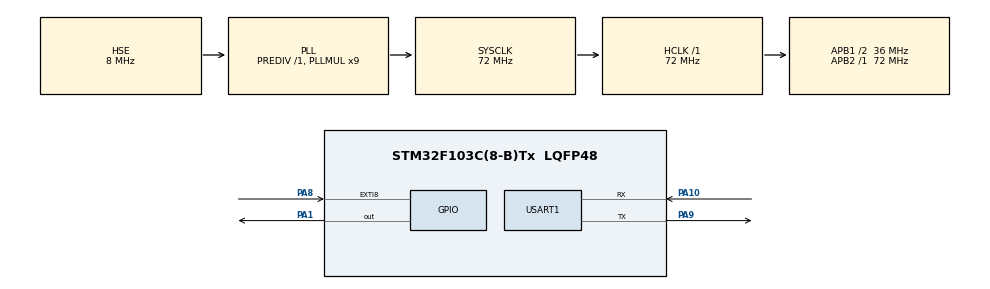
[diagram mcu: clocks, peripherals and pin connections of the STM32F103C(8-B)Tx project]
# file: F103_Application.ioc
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Mcu.Family=STM32F1
Mcu.Name=STM32F103C(8-B)Tx
Mcu.Package=LQFP48
NVIC.EXTI9_5_IRQn=true\:0\:0\:false\:false\:true\:true\:true\:true
NVIC.PriorityGroup=NVIC_PRIORITYGROUP_4
PA1.Signal=GPIO_Output
PA10.Mode=Asynchronous
PA10.Signal=USART1_RX
PA13.Mode=Serial_Wire
PA13.Signal=SYS_JTMS-SWDIO
PA14.Mode=Serial_Wire
PA14.Signal=SYS_JTCK-SWCLK
PA8.GPIO_ModeDefaultEXTI=GPIO_MODE_IT_FALLING
PA8.GPIO_PuPd=GPIO_PULLUP
PA8.Signal=GPXTI8
PA9.Mode=Asynchronous
PA9.Signal=USART1_TX
PD0-OSC_IN.Mode=HSE-External-Oscillator
PD0-OSC_IN.Signal=RCC_OSC_IN
PD1-OSC_OUT.Mode=HSE-External-Oscillator
PD1-OSC_OUT.Signal=RCC_OSC_OUT
ProjectManager.HeapSize=0x200
ProjectManager.StackSize=0x400
ProjectManager.TargetToolchain=STM32CubeIDE
RCC.AHBFreq_Value=72000000
RCC.APB1CLKDivider=RCC_HCLK_DIV2
RCC.APB1Freq_Value=36000000
RCC.APB1TimFreq_Value=72000000
RCC.APB2Freq_Value=72000000
RCC.APB2TimFreq_Value=72000000
RCC.HCLKFreq_Value=72000000
RCC.PLLMUL=RCC_PLL_MUL9
RCC.PLLSourceVirtual=RCC_PLLSOURCE_HSE
RCC.SYSCLKFreq_VALUE=72000000
RCC.SYSCLKSource=RCC_SYSCLKSOURCE_PLLCLK
RCC.USBFreq_Value=72000000
USART1.VirtualMode=VM_ASYNC
board=custom

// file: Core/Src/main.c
/* USER CODE BEGIN Header */
/**
  ******************************************************************************
  * @file           : main.c
  * @brief          : Main program body
  ******************************************************************************
  * @attention
  *
  * Copyright (c) 2025 STMicroelectronics.
  * All rights reserved.
  *
  * This software is licensed under terms that can be found in the LICENSE file
  * in the root directory of this software component.
  * If no LICENSE file comes with this software, it is provided AS-IS.
  *
  ******************************************************************************
  */
/* USER CODE END Header */
#include "main.h"

/* USER CODE BEGIN Includes */
#include "flash_layout.h"
#include "app_header.h"
#include "app_ota.h"
/* USER CODE END Includes */

UART_HandleTypeDef huart1;

void SystemClock_Config(void);
static void MX_GPIO_Init(void);
static void MX_USART1_UART_Init(void);

/* USER CODE BEGIN 0 */

__attribute__((section(".header"))) const app_header_t app_header =
{
	.ota_flag = 0,
    .magic   = 0xABCDEFAB,
    .size    = 7716,
    .crc     = 0xA8EB1242,
    .version = 0
};

void HAL_GPIO_EXTI_Callback(uint16_t GPIO_Pin)
{
	uint32_t wait = 10000;
	while (wait--);
	enable_ota_request();
}

/* USER CODE END 0 */

int main(void)
{

  /* MCU Configuration--------------------------------------------------------*/

  /* Reset of all peripherals, Initializes the Flash interface and the Systick. */
  HAL_Init();

  /* USER CODE BEGIN Init */

  SCB->VTOR = APP_START_ADDR;
  __enable_irq();

  /* USER CODE END Init */

  /* Configure the system clock */
  SystemClock_Config();

  /* Initialize all configured peripherals */
  MX_GPIO_Init();
  MX_USART1_UART_Init();
  /* USER CODE BEGIN 2 */

  HAL_UART_Transmit(&huart1, (uint8_t *)"Inside Application!!\r\n", 22, 100);

  /* USER CODE END 2 */

  /* Infinite loop */
  while (1)
  {

    /* USER CODE BEGIN 3 */
	  HAL_GPIO_TogglePin(GPIOA, GPIO_PIN_1);
	  HAL_Delay(500);
  }
  /* USER CODE END 3 */
}

void SystemClock_Config(void)
{
  RCC_OscInitTypeDef RCC_OscInitStruct = {0};
  RCC_ClkInitTypeDef RCC_ClkInitStruct = {0};

  /** Initializes the RCC Oscillators according to the specified parameters
  * in the RCC_OscInitTypeDef structure.
  */
  RCC_OscInitStruct.OscillatorType = RCC_OSCILLATORTYPE_HSE;
  RCC_OscInitStruct.HSEState = RCC_HSE_ON;
  RCC_OscInitStruct.HSEPredivValue = RCC_HSE_PREDIV_DIV1;
  RCC_OscInitStruct.HSIState = RCC_HSI_ON;
  RCC_OscInitStruct.PLL.PLLState = RCC_PLL_ON;
  RCC_OscInitStruct.PLL.PLLSource = RCC_PLLSOURCE_HSE;
  RCC_OscInitStruct.PLL.PLLMUL = RCC_PLL_MUL9;
  if (HAL_RCC_OscConfig(&RCC_OscInitStruct) != HAL_OK)
  {
    Error_Handler();
  }

  /** Initializes the CPU, AHB and APB buses clocks
  */
  RCC_ClkInitStruct.ClockType = RCC_CLOCKTYPE_HCLK|RCC_CLOCKTYPE_SYSCLK
                              |RCC_CLOCKTYPE_PCLK1|RCC_CLOCKTYPE_PCLK2;
  RCC_ClkInitStruct.SYSCLKSource = RCC_SYSCLKSOURCE_PLLCLK;
  RCC_ClkInitStruct.AHBCLKDivider = RCC_SYSCLK_DIV1;
  RCC_ClkInitStruct.APB1CLKDivider = RCC_HCLK_DIV2;
  RCC_ClkInitStruct.APB2CLKDivider = RCC_HCLK_DIV1;

  if (HAL_RCC_ClockConfig(&RCC_ClkInitStruct, FLASH_LATENCY_2) != HAL_OK)
  {
    Error_Handler();
  }
}

static void MX_USART1_UART_Init(void)
{

  huart1.Instance = USART1;
  huart1.Init.BaudRate = 115200;
  huart1.Init.WordLength = UART_WORDLENGTH_8B;
  huart1.Init.StopBits = UART_STOPBITS_1;
  huart1.Init.Parity = UART_PARITY_NONE;
  huart1.Init.Mode = UART_MODE_TX_RX;
  huart1.Init.HwFlowCtl = UART_HWCONTROL_NONE;
  huart1.Init.OverSampling = UART_OVERSAMPLING_16;
  if (HAL_UART_Init(&huart1) != HAL_OK)
  {
    Error_Handler();
  }

}

static void MX_GPIO_Init(void)
{
  GPIO_InitTypeDef GPIO_InitStruct = {0};

  /* GPIO Ports Clock Enable */
  __HAL_RCC_GPIOD_CLK_ENABLE();
  __HAL_RCC_GPIOA_CLK_ENABLE();

  /*Configure GPIO pin Output Level */
  HAL_GPIO_WritePin(GPIOA, GPIO_PIN_1, GPIO_PIN_RESET);

  /*Configure GPIO pin : PA1 */
  GPIO_InitStruct.Pin = GPIO_PIN_1;
  GPIO_InitStruct.Mode = GPIO_MODE_OUTPUT_PP;
  GPIO_InitStruct.Pull = GPIO_NOPULL;
  GPIO_InitStruct.Speed = GPIO_SPEED_FREQ_LOW;
  HAL_GPIO_Init(GPIOA, &GPIO_InitStruct);

  /*Configure GPIO pin : PA8 */
  GPIO_InitStruct.Pin = GPIO_PIN_8;
  GPIO_InitStruct.Mode = GPIO_MODE_IT_FALLING;
  GPIO_InitStruct.Pull = GPIO_PULLUP;
  HAL_GPIO_Init(GPIOA, &GPIO_InitStruct);

  /* EXTI interrupt init*/
  HAL_NVIC_SetPriority(EXTI9_5_IRQn, 0, 0);
  HAL_NVIC_EnableIRQ(EXTI9_5_IRQn);

}

void Error_Handler(void)
{
  __disable_irq();
  while (1)
  {
  }
}
